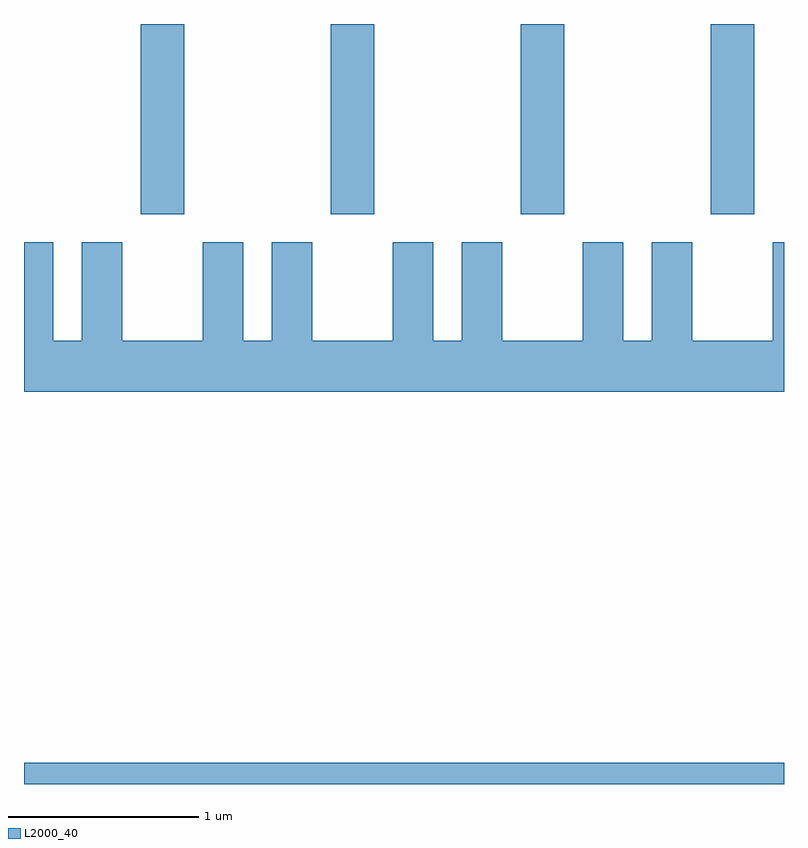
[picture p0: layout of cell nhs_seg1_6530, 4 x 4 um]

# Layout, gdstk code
import gdstk
lib = gdstk.Library(unit=1e-6, precision=1e-09)
def R(c, l, rs):  # rectangles x0, y0, x1, y1
    for r in rs: c.add(gdstk.rectangle(r[:2], r[2:], *l))
def A(c, l, x, y, w, h, nx, ny, dx, dy):  # array of equal rectangles
    R(c, l, [(x+i*dx, y+j*dy, x+i*dx+w, y+j*dy+h) for i in range(nx) for j in range(ny)])
def P(c, l, *ps):  # polygons
    for p in ps: c.add(gdstk.Polygon(p, *l))
L2000_40 = (2000, 40)

nhs_seg1_6530 = lib.new_cell('nhs_seg1_6530')
A(nhs_seg1_6530, L2000_40, 382.226, 922.711, 0.228, 1.001, 4, 1, 1, 0)
R(nhs_seg1_6530, L2000_40, [(381.611,919.712,385.611,919.824)])
P(nhs_seg1_6530, L2000_40, [(385.611,922.564),(385.551,922.564),(385.551,922.044),(385.129,922.044),(385.129,922.564),(384.916,922.564),(384.916,922.044),(384.764,922.044),(384.764,922.564),(384.551,922.564),(384.551,922.044),(384.129,922.044),(384.129,922.564),(383.916,922.564),(383.916,922.044),(383.764,922.044),(383.764,922.564),(383.551,922.564),(383.551,922.044),(383.129,922.044),(383.129,922.564),(382.916,922.564),(382.916,922.044),(382.764,922.044),(382.764,922.564),(382.551,922.564),(382.551,922.044),(382.129,922.044),(382.129,922.564),(381.916,922.564),(381.916,922.044),(381.764,922.044),(381.764,922.564),(381.611,922.564),(381.611,921.776),(385.611,921.776)])

lib.write_gds('nhs_seg1_6530.gds')
